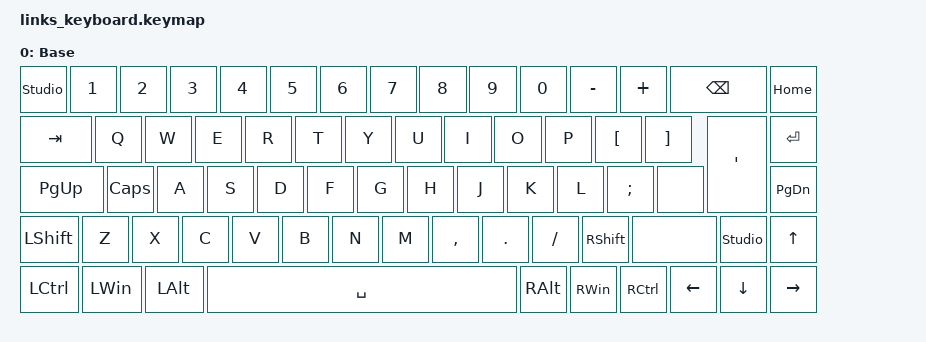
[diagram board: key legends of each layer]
#include <behaviors.dtsi>
#include <dt-bindings/zmk/keys.h>

/ {
    keymap {
        compatible = "zmk,keymap";

        default_layer {
            display-name = "Base";
            bindings = <
                &studio_unlock &kp NUMBER_1 &kp NUMBER_2 &kp NUMBER_3 &kp NUMBER_4 &kp NUMBER_5 &kp NUMBER_6 &kp NUMBER_7 &kp NUMBER_8 &kp NUMBER_9 &kp NUMBER_0 &kp MINUS &kp PLUS &kp BACKSPACE &kp HOME
                &kp TAB &kp Q &kp W &kp E &kp R &kp T &kp Y &kp U &kp I &kp O &kp P &kp LEFT_BRACKET &kp RIGHT_BRACKET &kp RETURN &kp PG_UP
                &kp CAPSLOCK &kp A &kp S &kp D &kp F &kp G &kp H &kp J &kp K &kp L &kp SEMICOLON &kp APOSTROPHE &kp PG_DN
                &kp LSHIFT &kp Z &kp X &kp C &kp V &kp B &kp N &kp M &kp COMMA &kp DOT &kp SLASH &kp RIGHT_SHIFT &none &none &studio_unlock &kp UP_ARROW
                &kp LCTRL &kp LEFT_WIN &kp LEFT_ALT &kp SPACE &kp RIGHT_ALT &kp RIGHT_WIN &kp RCTRL &kp LEFT_ARROW &kp DOWN_ARROW &kp RIGHT_ARROW
            >;
        };
    };
};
